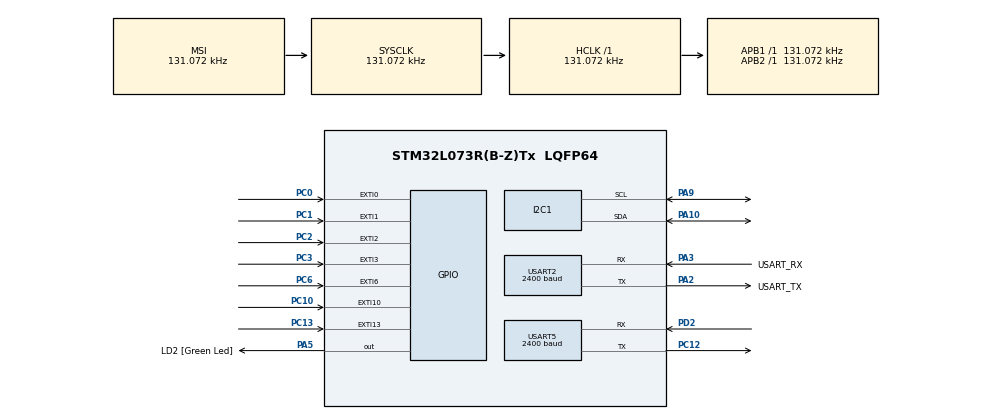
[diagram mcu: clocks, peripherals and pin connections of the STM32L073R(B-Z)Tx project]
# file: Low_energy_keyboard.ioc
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Dma.Request0=USART2_RX
Dma.USART2_RX.0.Direction=DMA_PERIPH_TO_MEMORY
Dma.USART2_RX.0.Instance=DMA1_Channel5
Dma.USART2_RX.0.MemDataAlignment=DMA_MDATAALIGN_BYTE
Dma.USART2_RX.0.MemInc=DMA_MINC_ENABLE
Dma.USART2_RX.0.Mode=DMA_NORMAL
Dma.USART2_RX.0.PeriphDataAlignment=DMA_PDATAALIGN_BYTE
Dma.USART2_RX.0.PeriphInc=DMA_PINC_DISABLE
Dma.USART2_RX.0.Priority=DMA_PRIORITY_LOW
I2C1.Timing=0x00000000
Mcu.Family=STM32L0
Mcu.Name=STM32L073R(B-Z)Tx
Mcu.Package=LQFP64
NVIC.DMA1_Channel4_5_6_7_IRQn=true\:0\:0\:false\:false\:true\:false\:true\:true
NVIC.EXTI0_1_IRQn=true\:3\:0\:true\:false\:true\:true\:true\:true
NVIC.EXTI2_3_IRQn=true\:3\:0\:true\:false\:true\:true\:true\:true
NVIC.EXTI4_15_IRQn=true\:0\:0\:false\:false\:true\:true\:true\:true
PA10.Mode=I2C
PA10.Signal=I2C1_SDA
PA13.GPIO_Label=TMS
PA13.Mode=Serial_Wire
PA13.Signal=SYS_SWDIO
PA14.GPIO_Label=TCK
PA14.Mode=Serial_Wire
PA14.Signal=SYS_SWCLK
PA2.GPIO_Label=USART_TX
PA2.Mode=Asynchronous
PA2.Signal=USART2_TX
PA3.GPIO_Label=USART_RX
PA3.Mode=Asynchronous
PA3.Signal=USART2_RX
PA5.GPIO_Label=LD2 [Green Led]
PA5.Signal=GPIO_Output
PA9.Mode=I2C
PA9.Signal=I2C1_SCL
PC0.GPIO_ModeDefaultEXTI=GPIO_MODE_IT_FALLING
PC0.GPIO_PuPd=GPIO_PULLUP
PC0.Signal=GPXTI0
PC1.GPIO_ModeDefaultEXTI=GPIO_MODE_IT_FALLING
PC1.GPIO_PuPd=GPIO_PULLUP
PC1.Signal=GPXTI1
PC10.Signal=GPXTI10
PC12.Mode=Asynchronous
PC12.Signal=USART5_TX
PC13.Signal=GPXTI13
PC14-OSC32_IN.Mode=LSE-External-Oscillator
PC14-OSC32_IN.Signal=RCC_OSC32_IN
PC15-OSC32_OUT.Mode=LSE-External-Oscillator
PC15-OSC32_OUT.Signal=RCC_OSC32_OUT
PC2.GPIO_ModeDefaultEXTI=GPIO_MODE_IT_FALLING
PC2.GPIO_PuPd=GPIO_PULLUP
PC2.Signal=GPXTI2
PC3.GPIO_ModeDefaultEXTI=GPIO_MODE_IT_FALLING
PC3.GPIO_PuPd=GPIO_PULLUP
PC3.Signal=GPXTI3
PC6.Signal=GPXTI6
PD2.Mode=Asynchronous
PD2.Signal=USART5_RX
PH0-OSC_IN.GPIO_Label=MCO
PH0-OSC_IN.Mode=HSE-External-Clock-Source
PH0-OSC_IN.Signal=RCC_OSC_IN
ProjectManager.HeapSize=0x800
ProjectManager.StackSize=0x3000
ProjectManager.TargetToolchain=STM32CubeIDE
RCC.AHBFreq_Value=131072
RCC.APB1Freq_Value=131072
RCC.APB1TimFreq_Value=131072
RCC.APB2Freq_Value=131072
RCC.APB2TimFreq_Value=131072
RCC.HCLKFreq_Value=131072
RCC.HSE_VALUE=8000000
RCC.HSI16_VALUE=16000000
RCC.HSI48_VALUE=48000000
RCC.HSI_VALUE=16000000
RCC.MSIClockRange=RCC_MSIRANGE_1
RCC.MSI_VALUE=131072
RCC.PLLDIV=RCC_PLLDIV_3
RCC.PLLMUL=RCC_PLLMUL_12
RCC.PLLSourceVirtual=RCC_PLLSOURCE_HSE
RCC.SYSCLKFreq_VALUE=131072
RCC.VCOOutputFreq_Value=96000000
RTC.WakeUpCounter-WakeUp=9750
USART2.BaudRate=2400
USART2.VirtualMode-Asynchronous=VM_ASYNC
USART5.BaudRate=2400
USART5.VirtualMode-Asynchronous=VM_ASYNC
VP_RTC_VS_RTC_Activate.Mode=RTC_Enabled
VP_RTC_VS_RTC_WakeUp_intern.Mode=WakeUp
board=NUCLEO-L073RZ

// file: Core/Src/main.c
/* USER CODE BEGIN Header */
/**
  ******************************************************************************
  * @file           : main.c
  * @brief          : Main program body
  ******************************************************************************
  * @attention
  *
  * Copyright (c) 2022 STMicroelectronics.
  * All rights reserved.
  *
  * This software is licensed under terms that can be found in the LICENSE file
  * in the root directory of this software component.
  * If no LICENSE file comes with this software, it is provided AS-IS.
  *
  ******************************************************************************
  */
/* USER CODE END Header */
#include "main.h"

/* USER CODE BEGIN Includes */
#include<stdio.h>

/* USER CODE END Includes */

I2C_HandleTypeDef hi2c1;

RTC_HandleTypeDef hrtc;

UART_HandleTypeDef huart2;
UART_HandleTypeDef huart5;
DMA_HandleTypeDef hdma_usart2_rx;

/* USER CODE BEGIN PV */
uint32_t cus_instance;
int last_triggered;
int last_pin;
int counter;
/* USER CODE END PV */

void SystemClock_Config(void);
static void MX_GPIO_Init(void);
static void MX_DMA_Init(void);
static void MX_RTC_Init(void);
static void MX_USART5_UART_Init(void);
static void MX_USART2_UART_Init(void);
static void MX_I2C1_Init(void);
/* USER CODE BEGIN PFP */
void ALL_Init() {
	  MX_GPIO_Init();
	  MX_DMA_Init();
	  MX_RTC_Init();
	  MX_USART5_UART_Init();
	  MX_USART2_UART_Init();
	  MX_I2C1_Init();
}

int fputcc(uint8_t ch) {
	HAL_UART_Transmit(&huart5, (uint8_t*)&ch, 1, 0xffff);
	return ch;
}

void fput(uint8_t s[], int n) {
	HAL_UART_Transmit(&huart5, (uint8_t*)s, n, 0xffff);
}

int freads(uint8_t input[], int n) {
	if(HAL_UART_Receive(&huart5, input, n, 10) == HAL_OK) {
		return 1;
	}
	else {
		return 0;
	}
}

void lowPowerMode() {
	// TODO: Triggered by movement

//	HAL_RTCEx_DeactivateWakeUpTimer(&hrtc);

//	IKS01A3_MOTION_SENSOR_DRDY_Set_Mode(0, 1);
//	IKS01A3_MOTION_SENSOR_DRDY_Enable_Interrupt(0, (MOTION_ACCELERO | MOTION_GYRO), 0);
	// Sleep about 4 secs
//	HAL_RTCEx_SetWakeUpTimer_IT(&hrtc, 0x2616, RTC_WAKEUPCLOCK_RTCCLK_DIV16);
	HAL_GPIO_TogglePin(LD2_GPIO_Port, LD2_Pin);

	// Enter Stop mode
	HAL_PWR_EnterSTOPMode(PWR_LOWPOWERREGULATOR_ON, PWR_STOPENTRY_WFI);
	HAL_GPIO_TogglePin(LD2_GPIO_Port, LD2_Pin);
//	IKS01A3_MOTION_SENSOR_DRDY_Disable_Interrupt(0, (MOTION_ACCELERO | MOTION_GYRO), 0);
	SystemClock_Config();
}

void lowResourceMode() {
	HAL_GPIO_TogglePin(LD2_GPIO_Port, LD2_Pin);
	HAL_PWREx_EnableLowPowerRunMode();
	while(__HAL_PWR_GET_FLAG(PWR_FLAG_REGLP) == RESET){}
	ALL_Init();
}

/* USER CODE END PFP */

/* USER CODE BEGIN 0 */

// Keyboard pins

#define GPIOx_keyboard GPIOC

const uint8_t KeyCount = 2;

const uint8_t KeyMapping[4][4] = {
	{0x01, 0x05},
	{0x02, 0x06},
	{0x03, 0x07},
	{0x04, 0x08}
};

const uint16_t KeyGPIO[4] = {
	GPIO_PIN_0, GPIO_PIN_1, GPIO_PIN_2, GPIO_PIN_3
};

uint8_t KeyStatus[2];

void init_Keyboard() {
	// scan for initial condition
	for(int i = 0; i < KeyCount; i++) {
		KeyStatus[i] = HAL_GPIO_ReadPin(GPIOx_keyboard, KeyGPIO[i]);
	}
}

void send_Keyboard(uint8_t key) {
	HAL_GPIO_WritePin(LD2_GPIO_Port, LD2_Pin, GPIO_PIN_SET);
	fputcc(key);
	HAL_GPIO_WritePin(LD2_GPIO_Port, LD2_Pin, GPIO_PIN_RESET);
	// send key
}

int update_Keyboard() {
	// scan and update keyboard status
	int ret = 0;
	for(int i = 0; i < KeyCount; i++) {
		uint8_t temp = HAL_GPIO_ReadPin(GPIOx_keyboard, KeyGPIO[i]);
		if(temp ^ KeyStatus[i]) {
			send_Keyboard(KeyMapping[KeyStatus[i]][i]);
			KeyStatus[i] = temp;
			ret = 1;
		}
	}
	return ret;
}

/* USER CODE END 0 */

int main(void)
{

  /* MCU Configuration--------------------------------------------------------*/

  /* Reset of all peripherals, Initializes the Flash interface and the Systick. */
  HAL_Init();

  /* Configure the system clock */
  SystemClock_Config();

  /* USER CODE BEGIN SysInit */
//  SystemPower_Config();
  /* USER CODE END SysInit */

  /* Initialize all configured peripherals */
  MX_GPIO_Init();
  MX_DMA_Init();
  MX_RTC_Init();
  MX_USART5_UART_Init();
  MX_USART2_UART_Init();
  MX_I2C1_Init();
  /* USER CODE BEGIN 2 */
//  BSP_I2C1_Init();
//  IKS01A3_MOTION_SENSOR_Enable(IKS01A3_LSM6DSO_0, (MOTION_GYRO | MOTION_ACCELERO));
//  IKS01A3_MOTION_SENSOR_Enable_
  HAL_GPIO_WritePin(LD2_GPIO_Port, LD2_Pin, GPIO_PIN_RESET);

  /* USER CODE END 2 */

  /* Infinite loop */
  /* USER CODE BEGIN WHILE */

  init_Keyboard();
  last_pin = -1;
  last_triggered = HAL_GetTick();
  const int sleep_threshold = 30000;
  const int low_threshold = 6000;
  counter = 0;
//  fput("AT+BAUD2\r\n", 13);
//  HAL_Delay(10000000);
  while (1)
  {
    /* USER CODE END WHILE */

    /* USER CODE BEGIN 3 */
//	  uint8_t x;
//	  if(IKS01A3_MOTION_SENSOR_FIFO_Get_Full_Status(0, &x) == BSP_ERROR_NONE) {
//		  fputcc(x);
//	  }else {
//		  HAL_GPIO_TogglePin(LD2_GPIO_Port, LD2_Pin);
//	  }
//	  HAL_Delay(100);
//	  if(update_Keyboard()) {
//		  last_triggered = HAL_GetTick();
//	  }

//	  MOTION_SENSOR_Axes_t AccValue;
//	  BSP_SENSOR_ACC_GetAxes(&AccValue);
//	  data_in.acc[0] = (float)AccValue.x * 0.001f;
//	  data_in.acc[1] = (float)AccValue.y * 0.001f;
//	  data_in.acc[2] = (float)AccValue.z * 0.001f;
//
//	  MOTION_SENSOR_Axes_t GyrValue;
//	  BSP_SENSOR_GYR_GetAxes(&GyrValue);
//	  data_in.gyro[0] = (float)GyrValue.x * 0.001f;
//	  data_in.gyro[1] = (float)GyrValue.y * 0.001f;
//	  data_in.gyro[2] = (float)GyrValue.z * 0.001f;
//	  if((data_in.acc[0] + data_in.acc[1] + data_in.acc[2] - 1) / 3 > 1) {
//		  if(__HAL_PWR_GET_FLAG(PWR_FLAG_REGLP) == SET && HAL_GetTick() - last_triggered < low_threshold) {
//			  HAL_PWREx_DisableLowPowerRunMode();
//			  while(__HAL_PWR_GET_FLAG(PWR_FLAG_REGLP) == SET){}
//			  ALL_Init();
//		  }
//	  }
	  if(__HAL_PWR_GET_FLAG(PWR_FLAG_REGLP) == SET && HAL_GetTick() - last_triggered < low_threshold) {
		  HAL_PWREx_DisableLowPowerRunMode();
	  	  while(__HAL_PWR_GET_FLAG(PWR_FLAG_REGLP) == SET){}
		  ALL_Init();
	  }
	  if(HAL_GetTick() - last_triggered > sleep_threshold) {
		  lowPowerMode();
		  last_triggered = HAL_GetTick();
	  }
	  else if(__HAL_PWR_GET_FLAG(PWR_FLAG_REGLP) == RESET && HAL_GetTick() - last_triggered > low_threshold) {
		  lowResourceMode();
	  }
  }
  /* USER CODE END 3 */
}

void SystemClock_Config(void)
{
  RCC_OscInitTypeDef RCC_OscInitStruct = {0};
  RCC_ClkInitTypeDef RCC_ClkInitStruct = {0};
  RCC_PeriphCLKInitTypeDef PeriphClkInit = {0};

  /** Configure the main internal regulator output voltage
  */
  __HAL_PWR_VOLTAGESCALING_CONFIG(PWR_REGULATOR_VOLTAGE_SCALE1);

  /** Initializes the RCC Oscillators according to the specified parameters
  * in the RCC_OscInitTypeDef structure.
  */
  RCC_OscInitStruct.OscillatorType = RCC_OSCILLATORTYPE_LSI|RCC_OSCILLATORTYPE_MSI;
  RCC_OscInitStruct.LSIState = RCC_LSI_ON;
  RCC_OscInitStruct.MSIState = RCC_MSI_ON;
  RCC_OscInitStruct.MSICalibrationValue = 0;
  RCC_OscInitStruct.MSIClockRange = RCC_MSIRANGE_1;
  RCC_OscInitStruct.PLL.PLLState = RCC_PLL_NONE;
  if (HAL_RCC_OscConfig(&RCC_OscInitStruct) != HAL_OK)
  {
    Error_Handler();
  }

  /** Initializes the CPU, AHB and APB buses clocks
  */
  RCC_ClkInitStruct.ClockType = RCC_CLOCKTYPE_HCLK|RCC_CLOCKTYPE_SYSCLK
                              |RCC_CLOCKTYPE_PCLK1|RCC_CLOCKTYPE_PCLK2;
  RCC_ClkInitStruct.SYSCLKSource = RCC_SYSCLKSOURCE_MSI;
  RCC_ClkInitStruct.AHBCLKDivider = RCC_SYSCLK_DIV1;
  RCC_ClkInitStruct.APB1CLKDivider = RCC_HCLK_DIV1;
  RCC_ClkInitStruct.APB2CLKDivider = RCC_HCLK_DIV1;

  if (HAL_RCC_ClockConfig(&RCC_ClkInitStruct, FLASH_LATENCY_0) != HAL_OK)
  {
    Error_Handler();
  }
  PeriphClkInit.PeriphClockSelection = RCC_PERIPHCLK_USART2|RCC_PERIPHCLK_I2C1
                              |RCC_PERIPHCLK_RTC;
  PeriphClkInit.Usart2ClockSelection = RCC_USART2CLKSOURCE_PCLK1;
  PeriphClkInit.I2c1ClockSelection = RCC_I2C1CLKSOURCE_PCLK1;
  PeriphClkInit.RTCClockSelection = RCC_RTCCLKSOURCE_LSI;
  if (HAL_RCCEx_PeriphCLKConfig(&PeriphClkInit) != HAL_OK)
  {
    Error_Handler();
  }
}

static void MX_I2C1_Init(void)
{

  hi2c1.Instance = I2C1;
  hi2c1.Init.Timing = 0x00000000;
  hi2c1.Init.OwnAddress1 = 0;
  hi2c1.Init.AddressingMode = I2C_ADDRESSINGMODE_7BIT;
  hi2c1.Init.DualAddressMode = I2C_DUALADDRESS_DISABLE;
  hi2c1.Init.OwnAddress2 = 0;
  hi2c1.Init.OwnAddress2Masks = I2C_OA2_NOMASK;
  hi2c1.Init.GeneralCallMode = I2C_GENERALCALL_DISABLE;
  hi2c1.Init.NoStretchMode = I2C_NOSTRETCH_DISABLE;
  if (HAL_I2C_Init(&hi2c1) != HAL_OK)
  {
    Error_Handler();
  }

  /** Configure Analogue filter
  */
  if (HAL_I2CEx_ConfigAnalogFilter(&hi2c1, I2C_ANALOGFILTER_ENABLE) != HAL_OK)
  {
    Error_Handler();
  }

  /** Configure Digital filter
  */
  if (HAL_I2CEx_ConfigDigitalFilter(&hi2c1, 0) != HAL_OK)
  {
    Error_Handler();
  }

}

static void MX_RTC_Init(void)
{

  /** Initialize RTC Only
  */
  hrtc.Instance = RTC;
  hrtc.Init.HourFormat = RTC_HOURFORMAT_24;
  hrtc.Init.AsynchPrediv = 127;
  hrtc.Init.SynchPrediv = 255;
  hrtc.Init.OutPut = RTC_OUTPUT_DISABLE;
  hrtc.Init.OutPutRemap = RTC_OUTPUT_REMAP_NONE;
  hrtc.Init.OutPutPolarity = RTC_OUTPUT_POLARITY_HIGH;
  hrtc.Init.OutPutType = RTC_OUTPUT_TYPE_OPENDRAIN;
  if (HAL_RTC_Init(&hrtc) != HAL_OK)
  {
    Error_Handler();
  }

  /** Enable the WakeUp
  */
  if (HAL_RTCEx_SetWakeUpTimer(&hrtc, 9750, RTC_WAKEUPCLOCK_RTCCLK_DIV16) != HAL_OK)
  {
    Error_Handler();
  }

}

static void MX_USART2_UART_Init(void)
{

  huart2.Instance = USART2;
  huart2.Init.BaudRate = 2400;
  huart2.Init.WordLength = UART_WORDLENGTH_8B;
  huart2.Init.StopBits = UART_STOPBITS_1;
  huart2.Init.Parity = UART_PARITY_NONE;
  huart2.Init.Mode = UART_MODE_TX_RX;
  huart2.Init.HwFlowCtl = UART_HWCONTROL_NONE;
  huart2.Init.OverSampling = UART_OVERSAMPLING_16;
  huart2.Init.OneBitSampling = UART_ONE_BIT_SAMPLE_DISABLE;
  huart2.AdvancedInit.AdvFeatureInit = UART_ADVFEATURE_NO_INIT;
  if (HAL_UART_Init(&huart2) != HAL_OK)
  {
    Error_Handler();
  }

}

static void MX_USART5_UART_Init(void)
{

  huart5.Instance = USART5;
  huart5.Init.BaudRate = 2400;
  huart5.Init.WordLength = UART_WORDLENGTH_8B;
  huart5.Init.StopBits = UART_STOPBITS_1;
  huart5.Init.Parity = UART_PARITY_NONE;
  huart5.Init.Mode = UART_MODE_TX_RX;
  huart5.Init.HwFlowCtl = UART_HWCONTROL_NONE;
  huart5.Init.OverSampling = UART_OVERSAMPLING_16;
  huart5.Init.OneBitSampling = UART_ONE_BIT_SAMPLE_DISABLE;
  huart5.AdvancedInit.AdvFeatureInit = UART_ADVFEATURE_NO_INIT;
  if (HAL_UART_Init(&huart5) != HAL_OK)
  {
    Error_Handler();
  }

}

static void MX_DMA_Init(void)
{

  /* DMA controller clock enable */
  __HAL_RCC_DMA1_CLK_ENABLE();

  /* DMA interrupt init */
  /* DMA1_Channel4_5_6_7_IRQn interrupt configuration */
  HAL_NVIC_SetPriority(DMA1_Channel4_5_6_7_IRQn, 0, 0);
  HAL_NVIC_EnableIRQ(DMA1_Channel4_5_6_7_IRQn);

}

static void MX_GPIO_Init(void)
{
  GPIO_InitTypeDef GPIO_InitStruct = {0};

  /* GPIO Ports Clock Enable */
  __HAL_RCC_GPIOC_CLK_ENABLE();
  __HAL_RCC_GPIOH_CLK_ENABLE();
  __HAL_RCC_GPIOA_CLK_ENABLE();
  __HAL_RCC_GPIOD_CLK_ENABLE();

  /*Configure GPIO pin Output Level */
  HAL_GPIO_WritePin(LD2_GPIO_Port, LD2_Pin, GPIO_PIN_RESET);

  /*Configure GPIO pins : PC13 PC6 PC10 */
  GPIO_InitStruct.Pin = GPIO_PIN_13|GPIO_PIN_6|GPIO_PIN_10;
  GPIO_InitStruct.Mode = GPIO_MODE_IT_RISING;
  GPIO_InitStruct.Pull = GPIO_NOPULL;
  HAL_GPIO_Init(GPIOC, &GPIO_InitStruct);

  /*Configure GPIO pins : PC0 PC1 PC2 PC3 */
  GPIO_InitStruct.Pin = GPIO_PIN_0|GPIO_PIN_1|GPIO_PIN_2|GPIO_PIN_3;
  GPIO_InitStruct.Mode = GPIO_MODE_IT_FALLING;
  GPIO_InitStruct.Pull = GPIO_PULLUP;
  HAL_GPIO_Init(GPIOC, &GPIO_InitStruct);

  /*Configure GPIO pin : LD2_Pin */
  GPIO_InitStruct.Pin = LD2_Pin;
  GPIO_InitStruct.Mode = GPIO_MODE_OUTPUT_PP;
  GPIO_InitStruct.Pull = GPIO_NOPULL;
  GPIO_InitStruct.Speed = GPIO_SPEED_FREQ_LOW;
  HAL_GPIO_Init(LD2_GPIO_Port, &GPIO_InitStruct);

  /* EXTI interrupt init*/
  HAL_NVIC_SetPriority(EXTI0_1_IRQn, 3, 0);
  HAL_NVIC_EnableIRQ(EXTI0_1_IRQn);

  HAL_NVIC_SetPriority(EXTI2_3_IRQn, 3, 0);
  HAL_NVIC_EnableIRQ(EXTI2_3_IRQn);

  HAL_NVIC_SetPriority(EXTI4_15_IRQn, 0, 0);
  HAL_NVIC_EnableIRQ(EXTI4_15_IRQn);

}

/* USER CODE BEGIN 4 */
void HAL_GPIO_EXTI_Callback(uint16_t GPIO_Pin) {
	// TODO: Change Pin
//	update_Keyboard();
	if(last_pin == GPIO_Pin && HAL_GetTick() - last_triggered < 200) {return;}
//	HAL_Delay(10);
//	if(last_pin == GPIO_Pin && HAL_GetTick() - last_triggered > 50) {
//		counter ++;
//	}
	last_triggered = HAL_GetTick();
	last_pin = GPIO_Pin;
//	if((counter & 1) == 0) return;
	switch(GPIO_Pin){
		case GPIO_PIN_0:
			fputcc('\1');
			break;
		case GPIO_PIN_1:
			fputcc('\2');
			break;
		case GPIO_PIN_2:
			fputcc('\3');
			break;
		case GPIO_PIN_3:
			fputcc('\4');
			break;
		case GPIO_PIN_13:
			fputcc('z');
			break;
	}
//	counter = 0;
//	HAL_Delay(10);
//
//
//	HAL_GPIO_WritePin(LD2_GPIO_Port, LD2_Pin, GPIO_PIN_RESET);
}

static void SystemPower_Config()
{
//  GPIO_InitTypeDef GPIO_InitStructure;

  /* Enable Power Control clock */
  __HAL_RCC_PWR_CLK_ENABLE();

  /* Enable GPIOs clock */
//  __HAL_RCC_GPIOA_CLK_ENABLE();
//  __HAL_RCC_GPIOB_CLK_ENABLE();
//  __HAL_RCC_GPIOC_CLK_ENABLE();
//  __HAL_RCC_GPIOD_CLK_ENABLE();
//  __HAL_RCC_GPIOH_CLK_ENABLE();
//  __HAL_RCC_GPIOE_CLK_ENABLE();

  /* Configure all GPIO port pins in Analog Input mode (floating input trigger OFF) */
  /* Note: Debug using ST-Link is not possible during the execution of this   */
  /*       example because communication between ST-link and the device       */
  /*       under test is done through UART. All GPIO pins are disabled (set   */
  /*       to analog input mode) including  UART I/O pins.           */
//  GPIO_InitStructure.Pin = GPIO_PIN_All;
//  GPIO_InitStructure.Mode = GPIO_MODE_ANALOG;
//  GPIO_InitStructure.Pull = GPIO_NOPULL;

//  HAL_GPIO_Init(GPIOA, &GPIO_InitStructure);
//  HAL_GPIO_Init(GPIOB, &GPIO_InitStructure);
//  HAL_GPIO_Init(GPIOC, &GPIO_InitStructure);
//  HAL_GPIO_Init(GPIOD, &GPIO_InitStructure);
//  HAL_GPIO_Init(GPIOH, &GPIO_InitStructure);
//  HAL_GPIO_Init(GPIOE, &GPIO_InitStructure);

  /* Disable GPIOs clock */
//  __HAL_RCC_GPIOA_CLK_DISABLE();
//  __HAL_RCC_GPIOB_CLK_DISABLE();
//  __HAL_RCC_GPIOC_CLK_DISABLE();
//  __HAL_RCC_GPIOD_CLK_DISABLE();
//  __HAL_RCC_GPIOH_CLK_DISABLE();
//  __HAL_RCC_GPIOE_CLK_DISABLE();
}
/* USER CODE END 4 */

void Error_Handler(void)
{
  __disable_irq();
  while (1)
  {
  }
}
